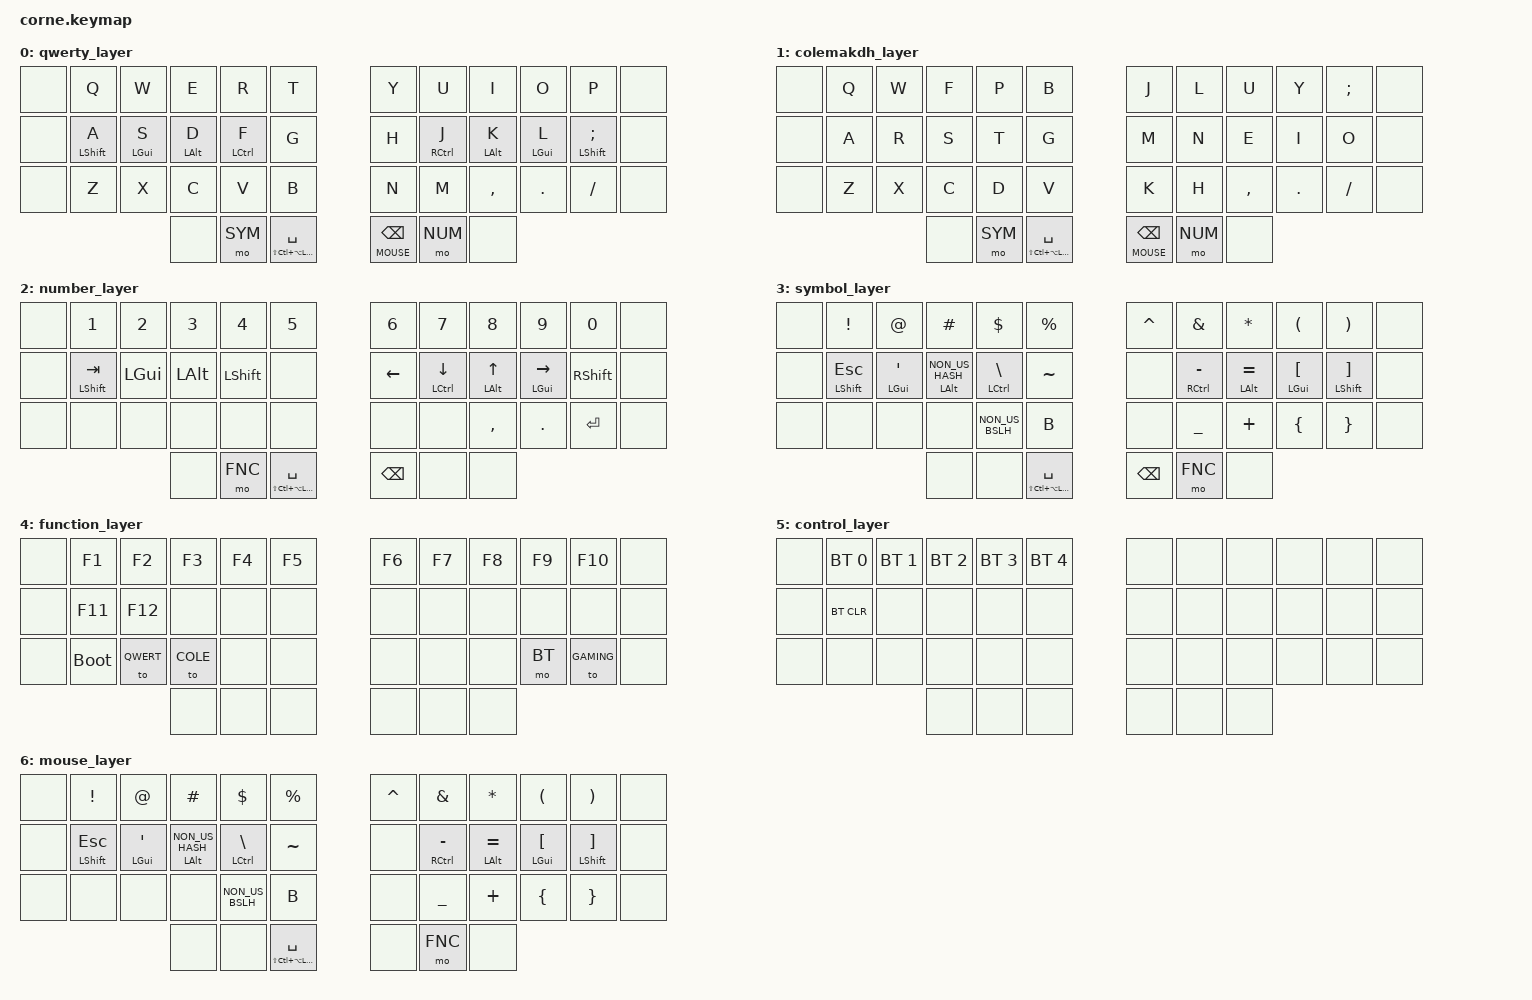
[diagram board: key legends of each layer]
/*
 * Copyright (c) 2020 The ZMK Contributors
 *
 * SPDX-License-Identifier: MIT
 */

#include <behaviors.dtsi>
#include <dt-bindings/zmk/keys.h>
#include <dt-bindings/zmk/bt.h>
#include <dt-bindings/zmk/mouse.h>

// Layers
#define QWERT   0
#define COLE    1
#define NUM     2
#define SYM     3
#define FNC     4
#define BT      5
#define GAMING  6
#define MOUSE   7

// Spacebar Hyper key
#define HYP         LS(LC(LA(LGUI)))

// Mouse layer key
//#define B_MOUSE     &mo MOUSE

// Home row mods - QWERTY
#define HOME_A		&hm LSHIFT A
#define HOME_S		&hm LGUI   S
#define HOME_D		&hm LALT   D
#define HOME_F		&hm LCTRL  F
#define HOME_J		&hm RCTRL  J
#define HOME_K		&hm LALT   K
#define HOME_L		&hm LGUI   L
#define HOME_SEMI	&hm LSHIFT SEMI

// Home row mods - COLEMAKDH
//#define HOME_A		&hm LSHIFT A
//#define HOME_R		&hm LGUI   R
//#define HOME_S		&hm LALT   S
//#define HOME_T		&hm LCTRL  T
//#define HOME_N		&hm RCTRL  N
//#define HOME_E		&hm LALT   E
//#define HOME_I		&hm LGUI   I
//#define HOME_O		&hm LSHIFT O

// Home row mods - NUM
#define HOME_TAB	&hm LSHIFT TAB
#define HOME_DOWN       &hm LCTRL  DOWN
#define HOME_UP         &hm LALT   UP
#define HOME_RIGHT      &hm LGUI   RIGHT

// Home row mods - SYM
#define HOME_ESC      	&hm LSHIFT ESC
#define HOME_SQT        &hm LGUI   SQT
#define HOME_HASH       &hm LALT   NON_US_HASH
#define HOME_BSLH       &hm LCTRL  BSLH
#define HOME_MIN        &hm RCTRL  MINUS
#define HOME_EQL        &hm LALT   EQUAL
#define HOME_LBKT       &hm LGUI   LBKT
#define HOME_RBKT       &hm LSHIFT RBKT

// *** Layer Template ***
//
//           ---------------------------------------------------------------------------------------------------------
//           |         |         |         |         |         |   |         |         |         |         |         |
//           |         |         |         |         |         |   |         |         |         |         |         |
//           |         |         |         |         |         |   |         |         |         |         |         |
//                                         |         |         |   |         |         |
//                        bindings = <
//    &none     &kp Q     &kp W     &kp E     &kp R     &kp T         &kp Y     &kp U     &kp I     &kp O     &kp P     &none
//    &none     &kp A     &kp S     &kp D     &kp F     &kp G         &kp H     &kp J     &kp K     &kp L     &kp SEMI  &none
//    &none     &kp Z     &kp X     &kp C     &kp V     &kp B         &kp N     &kp M     &kp COMMA &kp DOT   &kp FSLH  &none
//                                  &none     &mo SYM   &mt HYP SPACE &lt B_MOUSE BSPC  &mo NUM   &none
//
// *** Layer Template ***

/ {
    behaviors {
        hm: homerow_mods {
            compatible = "zmk,behavior-hold-tap";
            label = "HOMEROW_MODS";
            #binding-cells = <2>;
            tapping-term-ms = <150>;
            quick-tap-ms = <50>;
            flavor = "tap-preferred";
            bindings = <&kp>, <&kp>;
        };
    };
        keymap {
                compatible = "zmk,keymap";

                qwerty_layer {
//           ---------------------------------------------------------------------------------------------------------
//           |    Q    |    W    |    E    |    R    |    T    |   |    Y    |    U    |    I    |    O    |    P    |
//           |    A    |    S    |    D    |    F    |    G    |   |    H    |    J    |    K    |    L    |    ;    |
//           |    Z    |    X    |    C    |    V    |    B    |   |    N    |    M    |    ,    |    .    |    /    |
//                                         |   SYM   |   SPC   |   |   BKSP  |   NUM   |
                        bindings = <
    &none     &kp Q     &kp W     &kp E     &kp R     &kp T         &kp Y     &kp U     &kp I     &kp O     &kp P     &none
    &none     HOME_A    HOME_S    HOME_D    HOME_F    &kp G         &kp H     HOME_J    HOME_K    HOME_L    HOME_SEMI &none
    &none     &kp Z     &kp X     &kp C     &kp V     &kp B         &kp N     &kp M     &kp COMMA &kp DOT   &kp FSLH  &none
                                  &none     &mo SYM   &mt HYP SPACE &lt MOUSE BSPC  &mo NUM   &none
                        >;
                };
		colemakdh_layer {
//           ---------------------------------------------------------------------------------------------------------
//           |    Q    |    W    |    F    |    P    |    B    |   |    J    |    L    |    U    |    Y    |    ;    |
//           |    A    |    R    |    S    |    T    |    G    |   |    M    |    N    |    E    |    I    |    O    |
//           |    Z    |    X    |    C    |    D    |    V    |   |    K    |    H    |    ,    |    .    |    /    |
//                                         |   SYM   |   SPC   |   |   BKSP  |   NUM   |
                        bindings = <
    &none     &kp Q     &kp W     &kp F     &kp P     &kp B         &kp J     &kp L     &kp U     &kp Y     &kp SEMI  &none
    &none     &kp A     &kp R     &kp S     &kp T     &kp G         &kp M     &kp N     &kp E     &kp I     &kp O     &none
    &none     &kp Z     &kp X     &kp C     &kp D     &kp V         &kp K     &kp H     &kp COMMA &kp DOT   &kp FSLH  &none
                                  &none     &mo SYM   &mt HYP SPACE &lt MOUSE BSPC  &mo NUM   &none
                        >;
                };
                number_layer {
//
//           ---------------------------------------------------------------------------------------------------------
//           |    1    |    2    |    3    |    4    |    5    |   |    6    |    7    |    8    |    9    |    0    |
//           |   TAB   |         |         |         |         |   |   LEFT  |   DOWN  |    UP   |  RIGHT  |         |
//           |         |         |         |         |         |   |         |         |    ,    |    .    |  ENTER  |
//                                         |   FNC   |   SPC   |   |   BKSP  |         |
                        bindings = <
    &none     &kp N1    &kp N2    &kp N3    &kp N4    &kp N5        &kp N6    &kp N7    &kp N8    &kp N9    &kp N0    &none
    &none     HOME_TAB  &kp LGUI  &kp LALT  &kp LSHFT &none         &kp LEFT  HOME_DOWN HOME_UP  HOME_RIGHT &kp RSHFT &none
    &none     &none     &none     &none     &none     &none         &none     &none     &kp COMMA &kp DOT   &kp RET   &none
                                  &none     &mo FNC   &mt HYP SPACE &kp BSPC  &none     &none
                       >;
                };
                symbol_layer {
//
//           ---------------------------------------------------------------------------------------------------------
//           |    !    |    @    |    #    |    $    |    %    |   |    ^    |    &    |    *    |    (    |    )    |
//           |   ESC   |    '    |    #    |    \    |    ~    |   |         |    -    |    =    |    [    |    ]    |
//           |         |         |         |    \    |    `    |   |         |    _    |    +    |    {    |    }    |
//                                         |         |   SPC   |   |   BKSP  |   FNC   |
                        bindings = <
    &none     &kp EXCL  &kp AT    &kp HASH  &kp DLLR  &kp PRCNT     &kp CARET &kp AMPS  &kp STAR  &kp LPAR  &kp RPAR  &none
    &none     HOME_ESC HOME_SQT   HOME_HASH    HOME_BSLH &kp TILDE     &none     HOME_MIN  HOME_EQL  HOME_LBKT HOME_RBKT &none
    &none     &none     &none     &none &kp NON_US_BSLH  &kp B         &none     &kp UNDER &kp PLUS  &kp LBRC  &kp RBRC  &none
                                  &none     &none     &mt HYP SPACE &kp BSPC  &mo FNC   &none
                        >;
                };
		function_layer {
//
//           ---------------------------------------------------------------------------------------------------------
//           |   F1    |     F2    |   F3    |   F4    |   F5    |   |   F6    |   F7    |   F8    |   F9    |   F10   |
//           |   F11   |     F12   |         |         |         |   |         |         |         |         |         |
//           |   BOOT  |    QWERTY |COLEMAKDH|         |         |   |         |         |         |   BT    |  GAMING |
//                                           |         |         |   |         |         |
                        bindings = <
    &none     &kp F1      &kp F2    &kp F3    &kp F4    &kp F5        &kp F6    &kp F7    &kp F8    &kp F9    &kp F10    &none
    &none     &kp F11     &kp F12   &none     &none     &none         &none     &none     &none     &none     &none      &none
    &none     &bootloader &to QWERT &to COLE  &none     &none         &none     &none     &none     &mo BT    &to GAMING &none
                                    &none     &none     &none         &none     &none     &none

                       >;
                };
		control_layer {
//
//           ------------------------------------------------------------------------------------------------------------------------
//           |     BT1    |    BT2    |     BT3    |     BT4    |     BT5     |   |         |         |         |         |         |
//           |     BTCLR  |           |            |            |             |   |         |         |         |         |         |
//           |            |           |            |            |             |   |         |         |         |         |         |
//                                                 |            |             |   |         |         |
                          bindings = <
      &none  &bt BT_SEL 0 &bt BT_SEL 1 &bt BT_SEL 2 &bt BT_SEL 3 &bt BT_SEL 4      &none     &none     &none     &none     &none     &none
      &none  &bt BT_CLR   &none        &none        &none        &none             &none     &none     &none     &none     &none     &none
      &none  &none        &none        &none        &none        &none             &none     &none     &none     &none     &none     &none
                                       &none        &none        &none             &none     &none     &none
                       >;
                };
        mouse_layer {
//
//           ---------------------------------------------------------------------------------------------------------
//           |    !    |    @    |    #    |    $    |    %    |   |    ^    |    &    |    *    |    (    |    )    |
//           |   ESC   |    '    |    #    |    \    |    ~    |   |         |    -    |    =    |    [    |    ]    |
//           |         |         |         |    \    |    `    |   |         |    _    |    +    |    {    |    }    |
//                                         |         |   SPC   |   |   BKSP  |   FNC   |
                        bindings = <
    &none     &kp EXCL  &kp AT    &kp HASH  &kp DLLR  &kp PRCNT     &kp CARET &kp AMPS  &kp STAR  &kp LPAR  &kp RPAR  &none
    &none     HOME_ESC HOME_SQT   HOME_HASH    HOME_BSLH &kp TILDE     &none     HOME_MIN  HOME_EQL  HOME_LBKT HOME_RBKT &none
    &none     &none     &none     &none &kp NON_US_BSLH  &kp B         &none     &kp UNDER &kp PLUS  &kp LBRC  &kp RBRC  &none
                                  &none     &none     &mt HYP SPACE &none  &mo FNC   &none
                       >;
                };
        };
};
